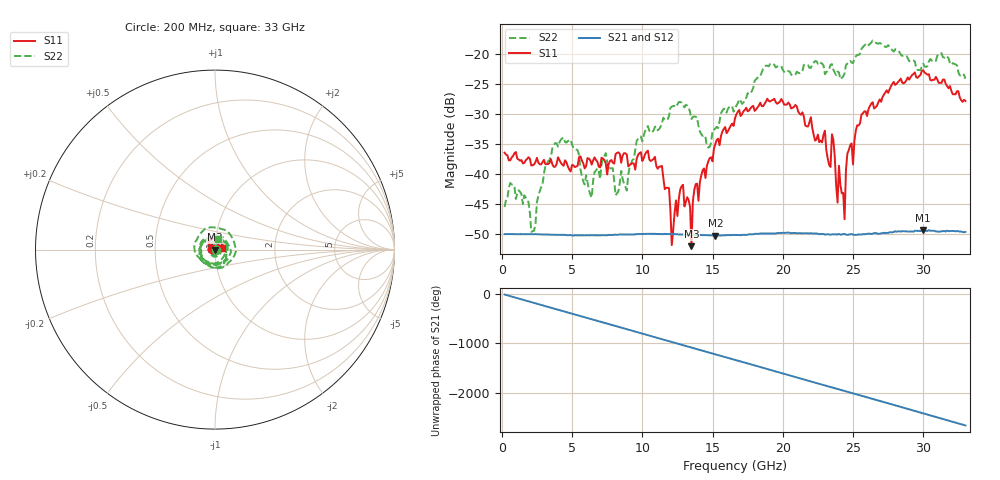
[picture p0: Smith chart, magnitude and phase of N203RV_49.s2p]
# GHZ S RI R 50
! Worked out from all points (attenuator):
!   329 points, 200 MHz to 33 GHz, reference 50 ohm
!   highest |S21| = -49.25 dB at 30 GHz (marker M1); lowest = -50.2 dB at 15.2 GHz (marker M2)
!   lowest |S11| = -52.0 dB at 13.5 GHz (marker M3), VSWR 1.01, Z = 49.7 - j0.0118 ohm
!   |S11| at or under -10 dB: start of sweep to end of sweep
!   |S22| runs from -49.6 to -17.8 dB; largest |S21 - S12| = 7.3e-05
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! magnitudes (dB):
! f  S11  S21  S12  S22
! 200 MHz  -36.4  -50.0  -49.9  -45.4
! 2.3 GHz  -38.4  -50.0  -50.0  -49.4
! 4.4 GHz  -38.6  -50.1  -50.1  -33.9
! 5.7 GHz  -37.7  -50.1  -50.1  -40.3
! 8.9 GHz  -36.8  -50.0  -50.0  -42.7
! 11.2 GHz  -38.7  -49.9  -49.9  -32.5
! 11.9 GHz  -42.3  -49.9  -49.9  -30.4
! 12.1 GHz  -51.8  -49.9  -49.9  -28.8
! 12.9 GHz  -41.8  -50.0  -50.0  -28.5
! 13.5 GHz  -52.0  -50.1  -50.1  -30.9
! 13.7 GHz  -42.6  -50.1  -50.1  -30.4
! 15.2 GHz  -35.0  -50.2  -50.2  -32.4
! 16.6 GHz  -30.7  -50.1  -50.1  -29.1
! 22.1 GHz  -32.3  -49.8  -49.8  -21.8
! 23.4 GHz  -38.8  -50.0  -50.0  -21.8
! 23.5 GHz  -33.4  -50.0  -50.0  -21.7
! 24.4 GHz  -47.5  -49.9  -49.9  -23.3
! 24.5 GHz  -39.2  -50.0  -50.0  -21.9
! 24.8 GHz  -35.2  -50.0  -50.0  -21.2
! 27.6 GHz  -25.9  -49.6  -49.7  -18.9
! 30 GHz  -22.8  -49.2  -49.3  -21.7
! 33 GHz  -27.8  -49.6  -49.6  -24.2
